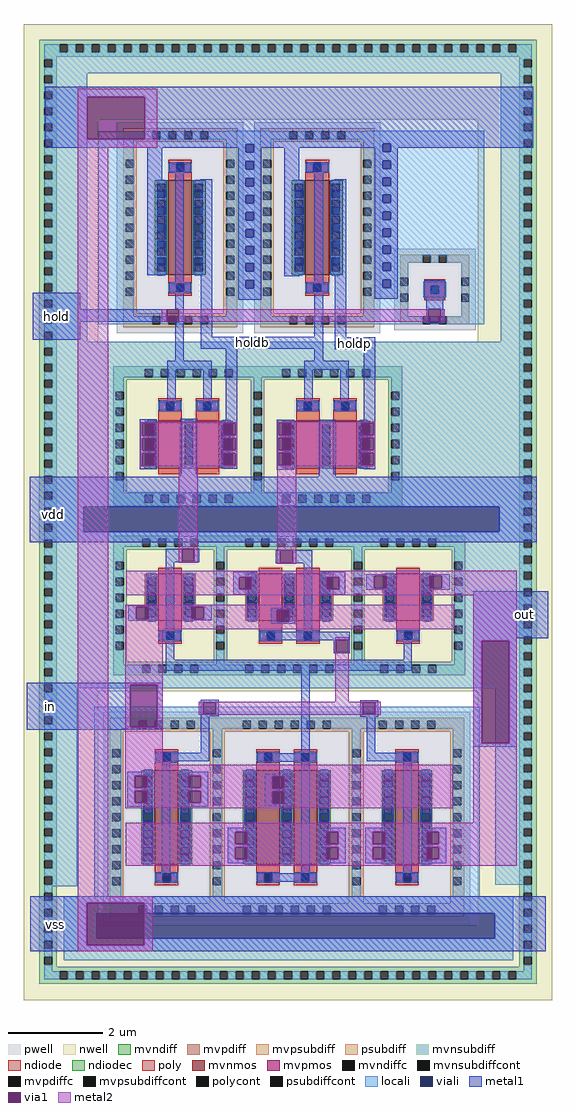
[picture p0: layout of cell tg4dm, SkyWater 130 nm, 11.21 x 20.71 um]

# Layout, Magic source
magic
tech sky130A
magscale 1 2
<< nwell >>
rect 301 1424 2543 1830
rect 301 482 616 1424
rect 2228 482 2543 1424
rect 301 373 2543 482
rect 301 -1994 616 373
rect 1957 -297 2543 373
rect 2228 -1994 2543 -297
rect 301 -2311 2543 -1994
<< mvnsubdiff >>
rect 367 1744 2477 1764
rect 367 1710 453 1744
rect 487 1710 521 1744
rect 555 1710 589 1744
rect 623 1710 657 1744
rect 691 1710 725 1744
rect 759 1710 793 1744
rect 827 1710 861 1744
rect 895 1710 929 1744
rect 963 1710 997 1744
rect 1031 1710 1065 1744
rect 1099 1710 1133 1744
rect 1167 1710 1201 1744
rect 1235 1710 1269 1744
rect 1303 1710 1337 1744
rect 1371 1710 1405 1744
rect 1439 1710 1473 1744
rect 1507 1710 1541 1744
rect 1575 1710 1609 1744
rect 1643 1710 1677 1744
rect 1711 1710 1745 1744
rect 1779 1710 1813 1744
rect 1847 1710 1881 1744
rect 1915 1710 1949 1744
rect 1983 1710 2017 1744
rect 2051 1710 2085 1744
rect 2119 1710 2153 1744
rect 2187 1710 2221 1744
rect 2255 1710 2289 1744
rect 2323 1710 2357 1744
rect 2391 1710 2477 1744
rect 367 1690 2477 1710
rect 367 1681 441 1690
rect 367 1647 387 1681
rect 421 1647 441 1681
rect 367 1613 441 1647
rect 367 1579 387 1613
rect 421 1579 441 1613
rect 367 1545 441 1579
rect 367 1511 387 1545
rect 421 1511 441 1545
rect 367 1477 441 1511
rect 367 1443 387 1477
rect 421 1443 441 1477
rect 367 1409 441 1443
rect 367 1375 387 1409
rect 421 1375 441 1409
rect 367 1341 441 1375
rect 367 1307 387 1341
rect 421 1307 441 1341
rect 367 1273 441 1307
rect 367 1239 387 1273
rect 421 1239 441 1273
rect 367 1205 441 1239
rect 367 1171 387 1205
rect 421 1171 441 1205
rect 367 1137 441 1171
rect 367 1103 387 1137
rect 421 1103 441 1137
rect 367 1069 441 1103
rect 367 1035 387 1069
rect 421 1035 441 1069
rect 367 1001 441 1035
rect 367 967 387 1001
rect 421 967 441 1001
rect 367 933 441 967
rect 367 899 387 933
rect 421 899 441 933
rect 367 865 441 899
rect 367 831 387 865
rect 421 831 441 865
rect 367 797 441 831
rect 367 763 387 797
rect 421 763 441 797
rect 367 729 441 763
rect 367 695 387 729
rect 421 695 441 729
rect 367 661 441 695
rect 367 627 387 661
rect 421 627 441 661
rect 367 593 441 627
rect 367 559 387 593
rect 421 559 441 593
rect 367 525 441 559
rect 367 491 387 525
rect 421 491 441 525
rect 367 457 441 491
rect 367 423 387 457
rect 421 423 441 457
rect 367 389 441 423
rect 367 355 387 389
rect 421 355 441 389
rect 367 321 441 355
rect 367 287 387 321
rect 421 287 441 321
rect 367 253 441 287
rect 367 219 387 253
rect 421 219 441 253
rect 367 185 441 219
rect 367 151 387 185
rect 421 151 441 185
rect 367 117 441 151
rect 367 83 387 117
rect 421 83 441 117
rect 367 49 441 83
rect 367 15 387 49
rect 421 15 441 49
rect 367 -19 441 15
rect 367 -53 387 -19
rect 421 -53 441 -19
rect 367 -87 441 -53
rect 367 -121 387 -87
rect 421 -121 441 -87
rect 367 -155 441 -121
rect 367 -189 387 -155
rect 421 -189 441 -155
rect 367 -223 441 -189
rect 367 -257 387 -223
rect 421 -257 441 -223
rect 367 -291 441 -257
rect 367 -325 387 -291
rect 421 -325 441 -291
rect 367 -359 441 -325
rect 367 -393 387 -359
rect 421 -393 441 -359
rect 367 -427 441 -393
rect 367 -461 387 -427
rect 421 -461 441 -427
rect 367 -495 441 -461
rect 367 -529 387 -495
rect 421 -529 441 -495
rect 367 -563 441 -529
rect 367 -597 387 -563
rect 421 -597 441 -563
rect 367 -631 441 -597
rect 367 -665 387 -631
rect 421 -665 441 -631
rect 367 -699 441 -665
rect 367 -733 387 -699
rect 421 -733 441 -699
rect 367 -767 441 -733
rect 367 -801 387 -767
rect 421 -801 441 -767
rect 367 -835 441 -801
rect 367 -869 387 -835
rect 421 -869 441 -835
rect 367 -903 441 -869
rect 367 -937 387 -903
rect 421 -937 441 -903
rect 367 -971 441 -937
rect 367 -1005 387 -971
rect 421 -1005 441 -971
rect 367 -1039 441 -1005
rect 367 -1073 387 -1039
rect 421 -1073 441 -1039
rect 367 -1107 441 -1073
rect 367 -1141 387 -1107
rect 421 -1141 441 -1107
rect 367 -1175 441 -1141
rect 367 -1209 387 -1175
rect 421 -1209 441 -1175
rect 367 -1243 441 -1209
rect 367 -1277 387 -1243
rect 421 -1277 441 -1243
rect 367 -1311 441 -1277
rect 367 -1345 387 -1311
rect 421 -1345 441 -1311
rect 367 -1379 441 -1345
rect 367 -1413 387 -1379
rect 421 -1413 441 -1379
rect 367 -1447 441 -1413
rect 367 -1481 387 -1447
rect 421 -1481 441 -1447
rect 367 -1515 441 -1481
rect 367 -1549 387 -1515
rect 421 -1549 441 -1515
rect 367 -1583 441 -1549
rect 367 -1617 387 -1583
rect 421 -1617 441 -1583
rect 367 -1651 441 -1617
rect 367 -1685 387 -1651
rect 421 -1685 441 -1651
rect 367 -1719 441 -1685
rect 367 -1753 387 -1719
rect 421 -1753 441 -1719
rect 367 -1787 441 -1753
rect 367 -1821 387 -1787
rect 421 -1821 441 -1787
rect 367 -1855 441 -1821
rect 367 -1889 387 -1855
rect 421 -1889 441 -1855
rect 367 -1923 441 -1889
rect 367 -1957 387 -1923
rect 421 -1957 441 -1923
rect 367 -1991 441 -1957
rect 367 -2025 387 -1991
rect 421 -2025 441 -1991
rect 367 -2059 441 -2025
rect 367 -2093 387 -2059
rect 421 -2093 441 -2059
rect 367 -2127 441 -2093
rect 367 -2161 387 -2127
rect 421 -2161 441 -2127
rect 367 -2169 441 -2161
rect 2403 1681 2477 1690
rect 2403 1647 2423 1681
rect 2457 1647 2477 1681
rect 2403 1613 2477 1647
rect 2403 1579 2423 1613
rect 2457 1579 2477 1613
rect 2403 1545 2477 1579
rect 2403 1511 2423 1545
rect 2457 1511 2477 1545
rect 2403 1477 2477 1511
rect 2403 1443 2423 1477
rect 2457 1443 2477 1477
rect 2403 1409 2477 1443
rect 2403 1375 2423 1409
rect 2457 1375 2477 1409
rect 2403 1341 2477 1375
rect 2403 1307 2423 1341
rect 2457 1307 2477 1341
rect 2403 1273 2477 1307
rect 2403 1239 2423 1273
rect 2457 1239 2477 1273
rect 2403 1205 2477 1239
rect 2403 1171 2423 1205
rect 2457 1171 2477 1205
rect 2403 1137 2477 1171
rect 2403 1103 2423 1137
rect 2457 1103 2477 1137
rect 2403 1069 2477 1103
rect 2403 1035 2423 1069
rect 2457 1035 2477 1069
rect 2403 1001 2477 1035
rect 2403 967 2423 1001
rect 2457 967 2477 1001
rect 2403 933 2477 967
rect 2403 899 2423 933
rect 2457 899 2477 933
rect 2403 865 2477 899
rect 2403 831 2423 865
rect 2457 831 2477 865
rect 2403 797 2477 831
rect 2403 763 2423 797
rect 2457 763 2477 797
rect 2403 729 2477 763
rect 2403 695 2423 729
rect 2457 695 2477 729
rect 2403 661 2477 695
rect 2403 627 2423 661
rect 2457 627 2477 661
rect 2403 593 2477 627
rect 2403 559 2423 593
rect 2457 559 2477 593
rect 2403 525 2477 559
rect 2403 491 2423 525
rect 2457 491 2477 525
rect 2403 457 2477 491
rect 2403 423 2423 457
rect 2457 423 2477 457
rect 2403 389 2477 423
rect 2403 355 2423 389
rect 2457 355 2477 389
rect 2403 321 2477 355
rect 2403 287 2423 321
rect 2457 287 2477 321
rect 2403 253 2477 287
rect 2403 219 2423 253
rect 2457 219 2477 253
rect 2403 185 2477 219
rect 2403 151 2423 185
rect 2457 151 2477 185
rect 2403 117 2477 151
rect 2403 83 2423 117
rect 2457 83 2477 117
rect 2403 49 2477 83
rect 2403 15 2423 49
rect 2457 15 2477 49
rect 2403 -19 2477 15
rect 2403 -53 2423 -19
rect 2457 -53 2477 -19
rect 2403 -87 2477 -53
rect 2403 -121 2423 -87
rect 2457 -121 2477 -87
rect 2403 -155 2477 -121
rect 2403 -189 2423 -155
rect 2457 -189 2477 -155
rect 2403 -223 2477 -189
rect 2403 -257 2423 -223
rect 2457 -257 2477 -223
rect 2403 -291 2477 -257
rect 2403 -325 2423 -291
rect 2457 -325 2477 -291
rect 2403 -359 2477 -325
rect 2403 -393 2423 -359
rect 2457 -393 2477 -359
rect 2403 -427 2477 -393
rect 2403 -461 2423 -427
rect 2457 -461 2477 -427
rect 2403 -495 2477 -461
rect 2403 -529 2423 -495
rect 2457 -529 2477 -495
rect 2403 -563 2477 -529
rect 2403 -597 2423 -563
rect 2457 -597 2477 -563
rect 2403 -631 2477 -597
rect 2403 -665 2423 -631
rect 2457 -665 2477 -631
rect 2403 -699 2477 -665
rect 2403 -733 2423 -699
rect 2457 -733 2477 -699
rect 2403 -767 2477 -733
rect 2403 -801 2423 -767
rect 2457 -801 2477 -767
rect 2403 -835 2477 -801
rect 2403 -869 2423 -835
rect 2457 -869 2477 -835
rect 2403 -903 2477 -869
rect 2403 -937 2423 -903
rect 2457 -937 2477 -903
rect 2403 -971 2477 -937
rect 2403 -1005 2423 -971
rect 2457 -1005 2477 -971
rect 2403 -1039 2477 -1005
rect 2403 -1073 2423 -1039
rect 2457 -1073 2477 -1039
rect 2403 -1107 2477 -1073
rect 2403 -1141 2423 -1107
rect 2457 -1141 2477 -1107
rect 2403 -1175 2477 -1141
rect 2403 -1209 2423 -1175
rect 2457 -1209 2477 -1175
rect 2403 -1243 2477 -1209
rect 2403 -1277 2423 -1243
rect 2457 -1277 2477 -1243
rect 2403 -1311 2477 -1277
rect 2403 -1345 2423 -1311
rect 2457 -1345 2477 -1311
rect 2403 -1379 2477 -1345
rect 2403 -1413 2423 -1379
rect 2457 -1413 2477 -1379
rect 2403 -1447 2477 -1413
rect 2403 -1481 2423 -1447
rect 2457 -1481 2477 -1447
rect 2403 -1515 2477 -1481
rect 2403 -1549 2423 -1515
rect 2457 -1549 2477 -1515
rect 2403 -1583 2477 -1549
rect 2403 -1617 2423 -1583
rect 2457 -1617 2477 -1583
rect 2403 -1651 2477 -1617
rect 2403 -1685 2423 -1651
rect 2457 -1685 2477 -1651
rect 2403 -1719 2477 -1685
rect 2403 -1753 2423 -1719
rect 2457 -1753 2477 -1719
rect 2403 -1787 2477 -1753
rect 2403 -1821 2423 -1787
rect 2457 -1821 2477 -1787
rect 2403 -1855 2477 -1821
rect 2403 -1889 2423 -1855
rect 2457 -1889 2477 -1855
rect 2403 -1923 2477 -1889
rect 2403 -1957 2423 -1923
rect 2457 -1957 2477 -1923
rect 2403 -1991 2477 -1957
rect 2403 -2025 2423 -1991
rect 2457 -2025 2477 -1991
rect 2403 -2059 2477 -2025
rect 2403 -2093 2423 -2059
rect 2457 -2093 2477 -2059
rect 2403 -2127 2477 -2093
rect 2403 -2161 2423 -2127
rect 2457 -2161 2477 -2127
rect 2403 -2169 2477 -2161
rect 367 -2189 2477 -2169
rect 367 -2223 453 -2189
rect 487 -2223 521 -2189
rect 555 -2223 589 -2189
rect 623 -2223 657 -2189
rect 691 -2223 725 -2189
rect 759 -2223 793 -2189
rect 827 -2223 861 -2189
rect 895 -2223 929 -2189
rect 963 -2223 997 -2189
rect 1031 -2223 1065 -2189
rect 1099 -2223 1133 -2189
rect 1167 -2223 1201 -2189
rect 1235 -2223 1269 -2189
rect 1303 -2223 1337 -2189
rect 1371 -2223 1405 -2189
rect 1439 -2223 1473 -2189
rect 1507 -2223 1541 -2189
rect 1575 -2223 1609 -2189
rect 1643 -2223 1677 -2189
rect 1711 -2223 1745 -2189
rect 1779 -2223 1813 -2189
rect 1847 -2223 1881 -2189
rect 1915 -2223 1949 -2189
rect 1983 -2223 2017 -2189
rect 2051 -2223 2085 -2189
rect 2119 -2223 2153 -2189
rect 2187 -2223 2221 -2189
rect 2255 -2223 2289 -2189
rect 2323 -2223 2357 -2189
rect 2391 -2223 2477 -2189
rect 367 -2243 2477 -2223
<< mvnsubdiffcont >>
rect 453 1710 487 1744
rect 521 1710 555 1744
rect 589 1710 623 1744
rect 657 1710 691 1744
rect 725 1710 759 1744
rect 793 1710 827 1744
rect 861 1710 895 1744
rect 929 1710 963 1744
rect 997 1710 1031 1744
rect 1065 1710 1099 1744
rect 1133 1710 1167 1744
rect 1201 1710 1235 1744
rect 1269 1710 1303 1744
rect 1337 1710 1371 1744
rect 1405 1710 1439 1744
rect 1473 1710 1507 1744
rect 1541 1710 1575 1744
rect 1609 1710 1643 1744
rect 1677 1710 1711 1744
rect 1745 1710 1779 1744
rect 1813 1710 1847 1744
rect 1881 1710 1915 1744
rect 1949 1710 1983 1744
rect 2017 1710 2051 1744
rect 2085 1710 2119 1744
rect 2153 1710 2187 1744
rect 2221 1710 2255 1744
rect 2289 1710 2323 1744
rect 2357 1710 2391 1744
rect 387 1647 421 1681
rect 387 1579 421 1613
rect 387 1511 421 1545
rect 387 1443 421 1477
rect 387 1375 421 1409
rect 387 1307 421 1341
rect 387 1239 421 1273
rect 387 1171 421 1205
rect 387 1103 421 1137
rect 387 1035 421 1069
rect 387 967 421 1001
rect 387 899 421 933
rect 387 831 421 865
rect 387 763 421 797
rect 387 695 421 729
rect 387 627 421 661
rect 387 559 421 593
rect 387 491 421 525
rect 387 423 421 457
rect 387 355 421 389
rect 387 287 421 321
rect 387 219 421 253
rect 387 151 421 185
rect 387 83 421 117
rect 387 15 421 49
rect 387 -53 421 -19
rect 387 -121 421 -87
rect 387 -189 421 -155
rect 387 -257 421 -223
rect 387 -325 421 -291
rect 387 -393 421 -359
rect 387 -461 421 -427
rect 387 -529 421 -495
rect 387 -597 421 -563
rect 387 -665 421 -631
rect 387 -733 421 -699
rect 387 -801 421 -767
rect 387 -869 421 -835
rect 387 -937 421 -903
rect 387 -1005 421 -971
rect 387 -1073 421 -1039
rect 387 -1141 421 -1107
rect 387 -1209 421 -1175
rect 387 -1277 421 -1243
rect 387 -1345 421 -1311
rect 387 -1413 421 -1379
rect 387 -1481 421 -1447
rect 387 -1549 421 -1515
rect 387 -1617 421 -1583
rect 387 -1685 421 -1651
rect 387 -1753 421 -1719
rect 387 -1821 421 -1787
rect 387 -1889 421 -1855
rect 387 -1957 421 -1923
rect 387 -2025 421 -1991
rect 387 -2093 421 -2059
rect 387 -2161 421 -2127
rect 2423 1647 2457 1681
rect 2423 1579 2457 1613
rect 2423 1511 2457 1545
rect 2423 1443 2457 1477
rect 2423 1375 2457 1409
rect 2423 1307 2457 1341
rect 2423 1239 2457 1273
rect 2423 1171 2457 1205
rect 2423 1103 2457 1137
rect 2423 1035 2457 1069
rect 2423 967 2457 1001
rect 2423 899 2457 933
rect 2423 831 2457 865
rect 2423 763 2457 797
rect 2423 695 2457 729
rect 2423 627 2457 661
rect 2423 559 2457 593
rect 2423 491 2457 525
rect 2423 423 2457 457
rect 2423 355 2457 389
rect 2423 287 2457 321
rect 2423 219 2457 253
rect 2423 151 2457 185
rect 2423 83 2457 117
rect 2423 15 2457 49
rect 2423 -53 2457 -19
rect 2423 -121 2457 -87
rect 2423 -189 2457 -155
rect 2423 -257 2457 -223
rect 2423 -325 2457 -291
rect 2423 -393 2457 -359
rect 2423 -461 2457 -427
rect 2423 -529 2457 -495
rect 2423 -597 2457 -563
rect 2423 -665 2457 -631
rect 2423 -733 2457 -699
rect 2423 -801 2457 -767
rect 2423 -869 2457 -835
rect 2423 -937 2457 -903
rect 2423 -1005 2457 -971
rect 2423 -1073 2457 -1039
rect 2423 -1141 2457 -1107
rect 2423 -1209 2457 -1175
rect 2423 -1277 2457 -1243
rect 2423 -1345 2457 -1311
rect 2423 -1413 2457 -1379
rect 2423 -1481 2457 -1447
rect 2423 -1549 2457 -1515
rect 2423 -1617 2457 -1583
rect 2423 -1685 2457 -1651
rect 2423 -1753 2457 -1719
rect 2423 -1821 2457 -1787
rect 2423 -1889 2457 -1855
rect 2423 -1957 2457 -1923
rect 2423 -2025 2457 -1991
rect 2423 -2093 2457 -2059
rect 2423 -2161 2457 -2127
rect 453 -2223 487 -2189
rect 521 -2223 555 -2189
rect 589 -2223 623 -2189
rect 657 -2223 691 -2189
rect 725 -2223 759 -2189
rect 793 -2223 827 -2189
rect 861 -2223 895 -2189
rect 929 -2223 963 -2189
rect 997 -2223 1031 -2189
rect 1065 -2223 1099 -2189
rect 1133 -2223 1167 -2189
rect 1201 -2223 1235 -2189
rect 1269 -2223 1303 -2189
rect 1337 -2223 1371 -2189
rect 1405 -2223 1439 -2189
rect 1473 -2223 1507 -2189
rect 1541 -2223 1575 -2189
rect 1609 -2223 1643 -2189
rect 1677 -2223 1711 -2189
rect 1745 -2223 1779 -2189
rect 1813 -2223 1847 -2189
rect 1881 -2223 1915 -2189
rect 1949 -2223 1983 -2189
rect 2017 -2223 2051 -2189
rect 2085 -2223 2119 -2189
rect 2153 -2223 2187 -2189
rect 2221 -2223 2255 -2189
rect 2289 -2223 2323 -2189
rect 2357 -2223 2391 -2189
<< locali >>
rect 387 1710 453 1744
rect 487 1710 521 1744
rect 555 1710 589 1744
rect 623 1710 657 1744
rect 691 1710 725 1744
rect 759 1710 793 1744
rect 827 1710 861 1744
rect 895 1710 929 1744
rect 963 1710 997 1744
rect 1031 1710 1065 1744
rect 1099 1710 1133 1744
rect 1167 1710 1201 1744
rect 1235 1710 1269 1744
rect 1303 1710 1337 1744
rect 1371 1710 1405 1744
rect 1439 1710 1473 1744
rect 1507 1710 1541 1744
rect 1575 1710 1609 1744
rect 1643 1710 1677 1744
rect 1711 1710 1745 1744
rect 1779 1710 1813 1744
rect 1847 1710 1881 1744
rect 1915 1710 1949 1744
rect 1983 1710 2017 1744
rect 2051 1710 2085 1744
rect 2119 1710 2153 1744
rect 2187 1710 2221 1744
rect 2255 1710 2289 1744
rect 2323 1710 2357 1744
rect 2391 1710 2457 1744
rect 387 1681 2457 1710
rect 421 1647 2423 1681
rect 387 1621 2457 1647
rect 387 1613 571 1621
rect 421 1579 571 1613
rect 387 1545 571 1579
rect 421 1511 571 1545
rect 387 1477 571 1511
rect 421 1443 571 1477
rect 387 1409 571 1443
rect 421 1375 571 1409
rect 2325 1613 2457 1621
rect 2325 1579 2423 1613
rect 2325 1545 2457 1579
rect 2325 1511 2423 1545
rect 2325 1477 2457 1511
rect 2325 1443 2423 1477
rect 2325 1409 2457 1443
rect 387 1341 571 1375
rect 421 1307 571 1341
rect 387 1273 571 1307
rect 421 1239 571 1273
rect 387 1205 571 1239
rect 421 1171 571 1205
rect 387 1137 571 1171
rect 421 1103 571 1137
rect 387 1069 571 1103
rect 421 1035 571 1069
rect 387 1001 571 1035
rect 421 967 571 1001
rect 387 933 571 967
rect 421 899 571 933
rect 387 865 571 899
rect 421 831 571 865
rect 387 797 571 831
rect 421 763 571 797
rect 387 729 571 763
rect 421 695 571 729
rect 387 661 571 695
rect 421 627 571 661
rect 387 593 571 627
rect 421 559 571 593
rect 387 525 571 559
rect 616 556 768 1376
rect 1169 1319 1343 1377
rect 1169 1285 1242 1319
rect 1276 1285 1343 1319
rect 1169 1247 1343 1285
rect 1169 1213 1242 1247
rect 1276 1213 1343 1247
rect 1169 1175 1343 1213
rect 1169 1141 1242 1175
rect 1276 1141 1343 1175
rect 1169 1103 1343 1141
rect 1169 1069 1242 1103
rect 1276 1069 1343 1103
rect 1169 1031 1343 1069
rect 1169 997 1242 1031
rect 1276 997 1343 1031
rect 1169 959 1343 997
rect 1169 925 1242 959
rect 1276 925 1343 959
rect 1169 887 1343 925
rect 1169 853 1242 887
rect 1276 853 1343 887
rect 1169 815 1343 853
rect 1169 781 1242 815
rect 1276 781 1343 815
rect 1169 743 1343 781
rect 1169 709 1242 743
rect 1276 709 1343 743
rect 1169 556 1343 709
rect 1753 1321 2255 1377
rect 1753 1287 1823 1321
rect 1857 1287 2255 1321
rect 1753 1249 2255 1287
rect 1753 1215 1823 1249
rect 1857 1215 2255 1249
rect 1753 1177 2255 1215
rect 1753 1143 1823 1177
rect 1857 1143 2255 1177
rect 1753 1105 2255 1143
rect 1753 1071 1823 1105
rect 1857 1071 2255 1105
rect 1753 1033 2255 1071
rect 1753 999 1823 1033
rect 1857 999 2255 1033
rect 1753 961 2255 999
rect 1753 927 1823 961
rect 1857 927 2255 961
rect 1753 889 2255 927
rect 1753 855 1823 889
rect 1857 855 2255 889
rect 1753 847 2255 855
rect 1753 817 1927 847
rect 1753 783 1823 817
rect 1857 783 1927 817
rect 1753 745 1927 783
rect 1753 711 1823 745
rect 1857 711 1927 745
rect 1753 556 1927 711
rect 2164 556 2255 847
rect 2325 1375 2423 1409
rect 2325 1341 2457 1375
rect 2325 1307 2423 1341
rect 2325 1273 2457 1307
rect 2325 1239 2423 1273
rect 2325 1205 2457 1239
rect 2325 1171 2423 1205
rect 2325 1137 2457 1171
rect 2325 1103 2423 1137
rect 2325 1069 2457 1103
rect 2325 1035 2423 1069
rect 2325 1001 2457 1035
rect 2325 967 2423 1001
rect 2325 933 2457 967
rect 2325 899 2423 933
rect 2325 865 2457 899
rect 2325 831 2423 865
rect 2325 797 2457 831
rect 2325 763 2423 797
rect 2325 729 2457 763
rect 2325 695 2423 729
rect 2325 661 2457 695
rect 2325 627 2423 661
rect 2325 593 2457 627
rect 2325 559 2423 593
rect 421 491 571 525
rect 387 482 571 491
rect 2325 525 2457 559
rect 2325 491 2423 525
rect 2325 482 2457 491
rect 387 457 2457 482
rect 421 423 2423 457
rect 387 389 2457 423
rect 421 355 2423 389
rect 387 342 2457 355
rect 387 321 712 342
rect 421 287 712 321
rect 387 253 712 287
rect 421 219 712 253
rect 387 185 712 219
rect 421 151 712 185
rect 387 117 712 151
rect 421 83 712 117
rect 387 49 712 83
rect 421 15 712 49
rect 387 -19 712 15
rect 421 -53 712 -19
rect 387 -87 712 -53
rect 421 -121 712 -87
rect 387 -155 712 -121
rect 421 -158 712 -155
rect 1870 321 2457 342
rect 1870 287 2423 321
rect 1870 253 2457 287
rect 1870 219 2423 253
rect 1870 185 2457 219
rect 1870 151 2423 185
rect 1870 117 2457 151
rect 1870 83 2423 117
rect 1870 49 2457 83
rect 1870 15 2423 49
rect 1870 -19 2457 15
rect 1870 -53 2423 -19
rect 1870 -87 2457 -53
rect 1870 -121 2423 -87
rect 1870 -155 2457 -121
rect 1870 -158 2423 -155
rect 421 -189 2423 -158
rect 387 -219 2457 -189
rect 387 -223 556 -219
rect 421 -257 556 -223
rect 387 -291 556 -257
rect 421 -325 556 -291
rect 2318 -223 2457 -219
rect 2318 -257 2423 -223
rect 2318 -291 2457 -257
rect 2318 -325 2423 -291
rect 387 -359 2457 -325
rect 421 -374 2423 -359
rect 421 -393 712 -374
rect 387 -427 712 -393
rect 421 -461 712 -427
rect 387 -495 712 -461
rect 421 -529 712 -495
rect 387 -563 712 -529
rect 421 -597 712 -563
rect 387 -631 712 -597
rect 421 -665 712 -631
rect 387 -699 712 -665
rect 421 -733 712 -699
rect 387 -767 712 -733
rect 421 -801 712 -767
rect 387 -835 712 -801
rect 421 -869 712 -835
rect 387 -894 712 -869
rect 2140 -393 2423 -374
rect 2140 -427 2457 -393
rect 2140 -461 2423 -427
rect 2140 -495 2457 -461
rect 2140 -529 2423 -495
rect 2140 -563 2457 -529
rect 2140 -597 2423 -563
rect 2140 -631 2457 -597
rect 2140 -665 2423 -631
rect 2140 -699 2457 -665
rect 2140 -733 2423 -699
rect 2140 -767 2457 -733
rect 2140 -801 2423 -767
rect 2140 -835 2457 -801
rect 2140 -869 2423 -835
rect 2140 -894 2457 -869
rect 387 -903 2457 -894
rect 421 -937 2423 -903
rect 387 -971 2457 -937
rect 421 -988 2423 -971
rect 421 -1005 528 -988
rect 387 -1039 528 -1005
rect 421 -1073 528 -1039
rect 2302 -1005 2423 -988
rect 2302 -1039 2457 -1005
rect 387 -1107 528 -1073
rect 421 -1141 528 -1107
rect 387 -1175 528 -1141
rect 421 -1209 528 -1175
rect 387 -1243 528 -1209
rect 421 -1277 528 -1243
rect 387 -1311 528 -1277
rect 421 -1345 528 -1311
rect 387 -1379 528 -1345
rect 421 -1413 528 -1379
rect 387 -1447 528 -1413
rect 421 -1481 528 -1447
rect 387 -1515 528 -1481
rect 421 -1549 528 -1515
rect 387 -1583 528 -1549
rect 421 -1617 528 -1583
rect 387 -1651 528 -1617
rect 421 -1685 528 -1651
rect 387 -1719 528 -1685
rect 421 -1753 528 -1719
rect 387 -1787 528 -1753
rect 421 -1821 528 -1787
rect 387 -1828 528 -1821
rect 599 -1155 2235 -1066
rect 387 -1855 421 -1828
rect 599 -1870 714 -1155
rect 2120 -1870 2235 -1155
rect 2302 -1073 2423 -1039
rect 2302 -1107 2457 -1073
rect 2302 -1141 2423 -1107
rect 2302 -1175 2457 -1141
rect 2302 -1209 2423 -1175
rect 2302 -1243 2457 -1209
rect 2302 -1277 2423 -1243
rect 2302 -1311 2457 -1277
rect 2302 -1345 2423 -1311
rect 2302 -1379 2457 -1345
rect 2302 -1413 2423 -1379
rect 2302 -1447 2457 -1413
rect 2302 -1481 2423 -1447
rect 2302 -1515 2457 -1481
rect 2302 -1549 2423 -1515
rect 2302 -1583 2457 -1549
rect 2302 -1617 2423 -1583
rect 2302 -1651 2457 -1617
rect 2302 -1685 2423 -1651
rect 2302 -1719 2457 -1685
rect 2302 -1753 2423 -1719
rect 2302 -1787 2457 -1753
rect 2302 -1821 2423 -1787
rect 2423 -1855 2457 -1821
rect 387 -1923 421 -1889
rect 387 -1991 421 -1957
rect 387 -2059 421 -2025
rect 387 -2127 421 -2093
rect 471 -1943 2378 -1870
rect 471 -2049 609 -1943
rect 2299 -2049 2378 -1943
rect 471 -2143 2378 -2049
rect 2423 -1923 2457 -1889
rect 2423 -1991 2457 -1957
rect 2423 -2059 2457 -2025
rect 2423 -2127 2457 -2093
rect 387 -2189 421 -2161
rect 2423 -2189 2457 -2161
rect 387 -2223 453 -2189
rect 487 -2223 521 -2189
rect 555 -2223 589 -2189
rect 623 -2223 657 -2189
rect 691 -2223 725 -2189
rect 759 -2223 793 -2189
rect 827 -2223 861 -2189
rect 895 -2223 929 -2189
rect 963 -2223 997 -2189
rect 1031 -2223 1065 -2189
rect 1099 -2223 1133 -2189
rect 1167 -2223 1201 -2189
rect 1235 -2223 1269 -2189
rect 1303 -2223 1337 -2189
rect 1371 -2223 1405 -2189
rect 1439 -2223 1473 -2189
rect 1507 -2223 1541 -2189
rect 1575 -2223 1609 -2189
rect 1643 -2223 1677 -2189
rect 1711 -2223 1745 -2189
rect 1779 -2223 1813 -2189
rect 1847 -2223 1881 -2189
rect 1915 -2223 1949 -2189
rect 1983 -2223 2017 -2189
rect 2051 -2223 2085 -2189
rect 2119 -2223 2153 -2189
rect 2187 -2223 2221 -2189
rect 2255 -2223 2289 -2189
rect 2323 -2223 2357 -2189
rect 2391 -2223 2457 -2189
<< viali >>
rect 1242 1285 1276 1319
rect 1242 1213 1276 1247
rect 1242 1141 1276 1175
rect 1242 1069 1276 1103
rect 1242 997 1276 1031
rect 1242 925 1276 959
rect 1242 853 1276 887
rect 1242 781 1276 815
rect 1242 709 1276 743
rect 1823 1287 1857 1321
rect 1823 1215 1857 1249
rect 1823 1143 1857 1177
rect 1823 1071 1857 1105
rect 1823 999 1857 1033
rect 1823 927 1857 961
rect 1823 855 1857 889
rect 1823 783 1857 817
rect 1823 711 1857 745
rect 556 -325 2318 -219
rect 609 -2049 2299 -1943
<< metal1 >>
rect 393 1521 2463 1563
rect 393 1341 571 1521
rect 815 1341 2463 1521
rect 393 1321 2463 1341
rect 393 1319 1823 1321
rect 393 1306 1242 1319
rect 824 764 888 1306
rect 1211 1285 1242 1306
rect 1276 1306 1823 1319
rect 1276 1285 1308 1306
rect 1211 1247 1308 1285
rect 340 619 540 690
rect 943 619 980 1231
rect 1211 1213 1242 1247
rect 1276 1213 1308 1247
rect 1211 1175 1308 1213
rect 340 567 907 619
rect 959 567 980 619
rect 340 490 540 567
rect 943 401 980 567
rect 1052 502 1101 1172
rect 1211 1141 1242 1175
rect 1276 1141 1308 1175
rect 1211 1103 1308 1141
rect 1211 1069 1242 1103
rect 1276 1069 1308 1103
rect 1211 1031 1308 1069
rect 1211 997 1242 1031
rect 1276 997 1308 1031
rect 1211 959 1308 997
rect 1211 925 1242 959
rect 1276 925 1308 959
rect 1211 887 1308 925
rect 1211 853 1242 887
rect 1276 853 1308 887
rect 1211 815 1308 853
rect 1211 781 1242 815
rect 1276 781 1308 815
rect 1211 743 1308 781
rect 1406 760 1470 1306
rect 1791 1287 1823 1306
rect 1857 1306 2463 1321
rect 1857 1287 1888 1306
rect 1791 1249 1888 1287
rect 1211 709 1242 743
rect 1276 709 1308 743
rect 1211 659 1308 709
rect 1534 502 1571 1232
rect 1791 1215 1823 1249
rect 1857 1215 1888 1249
rect 1791 1177 1888 1215
rect 1052 453 1571 502
rect 909 364 1099 401
rect 909 200 946 364
rect 1062 200 1099 364
rect 793 136 866 153
rect 793 84 804 136
rect 856 84 866 136
rect 793 72 866 84
rect 793 20 804 72
rect 856 20 866 72
rect 793 8 866 20
rect 793 -44 804 8
rect 856 -44 866 8
rect 793 -59 866 -44
rect 964 -92 1036 156
rect 1158 139 1207 453
rect 1534 401 1571 453
rect 1620 500 1669 1171
rect 1791 1143 1823 1177
rect 1857 1143 1888 1177
rect 1791 1105 1888 1143
rect 1791 1071 1823 1105
rect 1857 1071 1888 1105
rect 1791 1033 1888 1071
rect 1791 999 1823 1033
rect 1857 999 1888 1033
rect 1791 961 1888 999
rect 1791 927 1823 961
rect 1857 927 1888 961
rect 1791 889 1888 927
rect 1791 855 1823 889
rect 1857 855 1888 889
rect 1791 817 1888 855
rect 1791 783 1823 817
rect 1857 783 1888 817
rect 1791 745 1888 783
rect 1791 711 1823 745
rect 1857 711 1888 745
rect 1791 664 1888 711
rect 2009 619 2080 739
rect 2009 567 2018 619
rect 2070 567 2080 619
rect 2009 561 2080 567
rect 1620 451 1792 500
rect 1490 364 1680 401
rect 1490 200 1527 364
rect 1643 200 1680 364
rect 1147 137 1207 139
rect 1147 85 1148 137
rect 1200 85 1207 137
rect 1147 73 1207 85
rect 1147 21 1148 73
rect 1200 21 1207 73
rect 1147 9 1207 21
rect 1147 -43 1148 9
rect 1200 -43 1207 9
rect 1147 -45 1207 -43
rect 1158 -57 1207 -45
rect 1375 138 1448 151
rect 1375 86 1383 138
rect 1435 86 1448 138
rect 1375 74 1448 86
rect 1375 22 1383 74
rect 1435 22 1448 74
rect 1375 10 1448 22
rect 1375 -42 1383 10
rect 1435 -42 1448 10
rect 1375 -61 1448 -42
rect 1552 -92 1624 151
rect 1743 140 1792 451
rect 1732 138 1792 140
rect 1732 86 1733 138
rect 1785 86 1792 138
rect 1732 74 1792 86
rect 1732 22 1733 74
rect 1785 22 1792 74
rect 1732 10 1792 22
rect 1732 -42 1733 10
rect 1785 -42 1792 10
rect 1732 -44 1792 -42
rect 1743 -59 1792 -44
rect 326 -219 2478 -92
rect 326 -325 556 -219
rect 2318 -325 2478 -219
rect 326 -368 2478 -325
rect 904 -449 973 -397
rect 1025 -449 1046 -397
rect 904 -453 1046 -449
rect 1370 -403 1525 -402
rect 745 -643 867 -636
rect 745 -695 779 -643
rect 831 -695 867 -643
rect 745 -701 867 -695
rect 904 -867 939 -453
rect 1370 -455 1390 -403
rect 1442 -455 1525 -403
rect 1370 -458 1525 -455
rect 1190 -517 1292 -495
rect 1190 -569 1215 -517
rect 1267 -569 1292 -517
rect 1190 -591 1292 -569
rect 977 -642 1099 -635
rect 977 -694 1012 -642
rect 1064 -694 1099 -642
rect 977 -700 1099 -694
rect 1350 -655 1452 -648
rect 1350 -707 1375 -655
rect 1427 -707 1452 -655
rect 1350 -714 1452 -707
rect 1489 -749 1525 -458
rect 1562 -517 1664 -495
rect 1562 -569 1587 -517
rect 1639 -569 1664 -517
rect 1562 -591 1664 -569
rect 1755 -512 1876 -505
rect 1755 -564 1789 -512
rect 1841 -564 1876 -512
rect 1755 -570 1876 -564
rect 1988 -512 2109 -505
rect 1988 -564 2022 -512
rect 2074 -564 2109 -512
rect 1988 -570 2109 -564
rect 1334 -783 1685 -749
rect 1334 -785 1625 -783
rect 1617 -835 1625 -785
rect 1677 -835 1685 -783
rect 1617 -839 1685 -835
rect 1913 -867 1948 -760
rect 904 -915 1948 -867
rect 2209 -776 2526 -576
rect 2209 -786 2393 -776
rect 314 -974 891 -964
rect 314 -1154 752 -974
rect 868 -1154 891 -974
rect 314 -1164 891 -1154
rect 1051 -1047 1128 -1037
rect 1051 -1099 1063 -1047
rect 1115 -1099 1128 -1047
rect 1051 -1107 1128 -1099
rect 1051 -1261 1087 -1107
rect 894 -1289 1087 -1261
rect 1479 -1264 1515 -915
rect 1728 -1047 1805 -1039
rect 1728 -1099 1740 -1047
rect 1792 -1099 1805 -1047
rect 1728 -1109 1805 -1099
rect 887 -1297 1087 -1289
rect 740 -1359 856 -1342
rect 740 -1411 772 -1359
rect 824 -1411 856 -1359
rect 740 -1423 856 -1411
rect 740 -1475 772 -1423
rect 824 -1475 856 -1423
rect 740 -1491 856 -1475
rect 887 -1784 923 -1297
rect 1322 -1300 1515 -1264
rect 1756 -1262 1792 -1109
rect 2209 -1222 2244 -786
rect 2360 -1222 2393 -786
rect 2209 -1236 2393 -1222
rect 1756 -1298 1949 -1262
rect 967 -1359 1083 -1342
rect 967 -1411 999 -1359
rect 1051 -1411 1083 -1359
rect 967 -1423 1083 -1411
rect 967 -1475 999 -1423
rect 1051 -1475 1083 -1423
rect 967 -1491 1083 -1475
rect 1323 -1362 1440 -1352
rect 1323 -1414 1355 -1362
rect 1407 -1414 1440 -1362
rect 1323 -1426 1440 -1414
rect 1323 -1478 1355 -1426
rect 1407 -1478 1440 -1426
rect 1323 -1488 1440 -1478
rect 1166 -1598 1282 -1581
rect 1166 -1650 1198 -1598
rect 1250 -1650 1282 -1598
rect 1166 -1662 1282 -1650
rect 1166 -1714 1198 -1662
rect 1250 -1714 1282 -1662
rect 1166 -1730 1282 -1714
rect 1479 -1773 1515 -1300
rect 1552 -1598 1668 -1581
rect 1552 -1650 1584 -1598
rect 1636 -1650 1668 -1598
rect 1552 -1662 1668 -1650
rect 1552 -1714 1584 -1662
rect 1636 -1714 1668 -1662
rect 1552 -1730 1668 -1714
rect 1750 -1598 1866 -1581
rect 1750 -1650 1782 -1598
rect 1834 -1650 1866 -1598
rect 1750 -1662 1866 -1650
rect 1750 -1714 1782 -1662
rect 1834 -1714 1866 -1662
rect 1750 -1730 1866 -1714
rect 1347 -1809 1515 -1773
rect 1910 -1786 1946 -1298
rect 1978 -1598 2094 -1581
rect 1978 -1650 2010 -1598
rect 2062 -1650 2094 -1598
rect 1978 -1662 2094 -1650
rect 1978 -1714 2010 -1662
rect 2062 -1714 2094 -1662
rect 1978 -1730 2094 -1714
rect 328 -1899 2515 -1870
rect 328 -2079 569 -1899
rect 813 -1943 2515 -1899
rect 2299 -2049 2515 -1943
rect 813 -2079 2515 -2049
rect 328 -2105 2515 -2079
<< via1 >>
rect 571 1341 815 1521
rect 907 567 959 619
rect 804 84 856 136
rect 804 20 856 72
rect 804 -44 856 8
rect 2018 567 2070 619
rect 1148 85 1200 137
rect 1148 21 1200 73
rect 1148 -43 1200 9
rect 1383 86 1435 138
rect 1383 22 1435 74
rect 1383 -42 1435 10
rect 1733 86 1785 138
rect 1733 22 1785 74
rect 1733 -42 1785 10
rect 973 -449 1025 -397
rect 779 -695 831 -643
rect 1390 -455 1442 -403
rect 1215 -569 1267 -517
rect 1012 -694 1064 -642
rect 1375 -707 1427 -655
rect 1587 -569 1639 -517
rect 1789 -564 1841 -512
rect 2022 -564 2074 -512
rect 1625 -835 1677 -783
rect 752 -1154 868 -974
rect 1063 -1099 1115 -1047
rect 1740 -1099 1792 -1047
rect 772 -1411 824 -1359
rect 772 -1475 824 -1423
rect 2244 -1222 2360 -786
rect 999 -1411 1051 -1359
rect 999 -1475 1051 -1423
rect 1355 -1414 1407 -1362
rect 1355 -1478 1407 -1426
rect 1198 -1650 1250 -1598
rect 1198 -1714 1250 -1662
rect 1584 -1650 1636 -1598
rect 1584 -1714 1636 -1662
rect 1782 -1650 1834 -1598
rect 1782 -1714 1834 -1662
rect 2010 -1650 2062 -1598
rect 2010 -1714 2062 -1662
rect 569 -1943 813 -1899
rect 569 -2049 609 -1943
rect 609 -2049 813 -1943
rect 569 -2079 813 -2049
<< metal2 >>
rect 529 1521 867 1556
rect 529 1341 571 1521
rect 815 1341 867 1521
rect 529 1306 867 1341
rect 529 -1870 660 1306
rect 886 567 907 619
rect 959 567 2018 619
rect 2070 567 2087 619
rect 795 137 1207 141
rect 795 136 1148 137
rect 795 84 804 136
rect 856 85 1148 136
rect 1200 85 1207 137
rect 856 84 1207 85
rect 795 73 1207 84
rect 795 72 1148 73
rect 795 20 804 72
rect 856 21 1148 72
rect 1200 21 1207 73
rect 856 20 1207 21
rect 795 9 1207 20
rect 795 8 1148 9
rect 795 -44 804 8
rect 856 -43 1148 8
rect 1200 -43 1207 9
rect 856 -44 1207 -43
rect 795 -47 1207 -44
rect 1376 138 1792 142
rect 1376 86 1383 138
rect 1435 86 1733 138
rect 1785 86 1792 138
rect 1376 74 1792 86
rect 1376 22 1383 74
rect 1435 22 1733 74
rect 1785 22 1792 74
rect 1376 10 1792 22
rect 1376 -42 1383 10
rect 1435 -42 1733 10
rect 1785 -42 1792 10
rect 1376 -46 1792 -42
rect 959 -397 1040 -47
rect 959 -449 973 -397
rect 1025 -449 1040 -397
rect 959 -455 1040 -449
rect 1376 -403 1457 -46
rect 1376 -455 1390 -403
rect 1442 -455 1457 -403
rect 1376 -461 1457 -455
rect 736 -512 2393 -489
rect 736 -517 1789 -512
rect 736 -569 1215 -517
rect 1267 -569 1587 -517
rect 1639 -564 1789 -517
rect 1841 -564 2022 -512
rect 2074 -564 2393 -512
rect 1639 -569 2393 -564
rect 736 -593 2393 -569
rect 732 -642 2127 -634
rect 732 -643 1012 -642
rect 732 -695 779 -643
rect 831 -694 1012 -643
rect 1064 -655 2127 -642
rect 1064 -694 1375 -655
rect 831 -695 1375 -694
rect 732 -707 1375 -695
rect 1427 -707 2127 -655
rect 732 -738 2127 -707
rect 732 -974 891 -738
rect 732 -1154 752 -974
rect 868 -1154 891 -974
rect 1623 -783 1679 -772
rect 1623 -835 1625 -783
rect 1677 -835 1679 -783
rect 1623 -1045 1679 -835
rect 2209 -786 2393 -593
rect 1043 -1047 1816 -1045
rect 1043 -1099 1063 -1047
rect 1115 -1099 1740 -1047
rect 1792 -1099 1816 -1047
rect 1043 -1101 1816 -1099
rect 732 -1313 891 -1154
rect 2209 -1222 2244 -786
rect 2360 -1222 2393 -786
rect 732 -1359 2122 -1313
rect 732 -1411 772 -1359
rect 824 -1411 999 -1359
rect 1051 -1362 2122 -1359
rect 1051 -1411 1355 -1362
rect 732 -1414 1355 -1411
rect 1407 -1414 2122 -1362
rect 732 -1423 2122 -1414
rect 732 -1475 772 -1423
rect 824 -1475 999 -1423
rect 1051 -1426 2122 -1423
rect 1051 -1475 1355 -1426
rect 732 -1478 1355 -1475
rect 1407 -1478 2122 -1426
rect 732 -1497 2122 -1478
rect 2209 -1558 2393 -1222
rect 733 -1598 2393 -1558
rect 733 -1650 1198 -1598
rect 1250 -1650 1584 -1598
rect 1636 -1650 1782 -1598
rect 1834 -1650 2010 -1598
rect 2062 -1650 2393 -1598
rect 733 -1662 2393 -1650
rect 733 -1714 1198 -1662
rect 1250 -1714 1584 -1662
rect 1636 -1714 1782 -1662
rect 1834 -1714 2010 -1662
rect 2062 -1714 2393 -1662
rect 733 -1742 2393 -1714
rect 529 -1899 849 -1870
rect 529 -2079 569 -1899
rect 813 -2079 849 -1899
rect 529 -2105 849 -2079
use sky130_fd_pr__pfet_g5v0d10v5_U6NWY6  sky130_fd_pr__pfet_g5v0d10v5_U6NWY6_0
transform 1 0 922 0 1 -638
box -308 -362 308 362
use sky130_fd_pr__pfet_g5v0d10v5_U62SY6  sky130_fd_pr__pfet_g5v0d10v5_U62SY6_0
transform 1 0 1585 0 -1 82
box -387 -362 387 362
use sky130_fd_pr__diode_pw2nd_05v5_FT76RJ  XD1
transform 1 0 2045 0 -1 703
box -173 -173 173 173
use sky130_fd_pr__nfet_g5v0d10v5_EJGQFX  XM1
transform -1 0 1417 0 1 -1536
box -347 -448 347 448
use sky130_fd_pr__nfet_g5v0d10v5_WSEQJ8  XM3
transform -1 0 907 0 1 -1536
box -268 -448 268 448
use sky130_fd_pr__pfet_g5v0d10v5_U62SY6  XM4
transform 1 0 1427 0 1 -638
box -387 -362 387 362
use sky130_fd_pr__nfet_g5v0d10v5_WSEQJ8  XM5
transform 1 0 1927 0 1 -1536
box -268 -448 268 448
use sky130_fd_pr__pfet_g5v0d10v5_U6NWY6  XM6
transform 1 0 1932 0 1 -638
box -308 -362 308 362
use sky130_fd_pr__pfet_g5v0d10v5_U62SY6  XM7
transform 1 0 1001 0 -1 82
box -387 -362 387 362
use sky130_fd_pr__nfet_g5v0d10v5_WSEQJ8  XM8
transform 1 0 964 0 -1 966
box -268 -448 268 448
use sky130_fd_pr__nfet_g5v0d10v5_WSEQJ8  XM10
transform 1 0 1546 0 -1 966
box -268 -448 268 448
<< labels >>
flabel metal1 s 1271 478 1271 478 0 FreeSans 61 0 0 0 holdb
flabel metal1 s 1705 473 1705 473 0 FreeSans 61 0 0 0 holdp
flabel metal1 s 340 490 540 690 0 FreeSans 49 0 0 0 hold
port 1 nsew
flabel metal1 s 336 -2091 536 -1891 0 FreeSans 49 0 0 0 vss
port 2 nsew
flabel metal1 s 2326 -776 2526 -576 0 FreeSans 49 0 0 0 out
port 3 nsew
flabel metal1 s 314 -1164 514 -964 0 FreeSans 49 0 0 0 in
port 4 nsew
flabel metal1 s 326 -352 526 -152 0 FreeSans 49 0 0 0 vdd
port 5 nsew
<< end >>

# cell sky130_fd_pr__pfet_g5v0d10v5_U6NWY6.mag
magic
tech sky130A
magscale 1 2
<< nwell >>
rect -308 -362 308 362
<< mvpmos >>
rect -50 -64 50 136
<< mvpdiff >>
rect -108 121 -50 136
rect -108 87 -96 121
rect -62 87 -50 121
rect -108 53 -50 87
rect -108 19 -96 53
rect -62 19 -50 53
rect -108 -15 -50 19
rect -108 -49 -96 -15
rect -62 -49 -50 -15
rect -108 -64 -50 -49
rect 50 121 108 136
rect 50 87 62 121
rect 96 87 108 121
rect 50 53 108 87
rect 50 19 62 53
rect 96 19 108 53
rect 50 -15 108 19
rect 50 -49 62 -15
rect 96 -49 108 -15
rect 50 -64 108 -49
<< mvpdiffc >>
rect -96 87 -62 121
rect -96 19 -62 53
rect -96 -49 -62 -15
rect 62 87 96 121
rect 62 19 96 53
rect 62 -49 96 -15
<< mvnsubdiff >>
rect -242 284 242 296
rect -242 250 -119 284
rect -85 250 -51 284
rect -17 250 17 284
rect 51 250 85 284
rect 119 250 242 284
rect -242 238 242 250
rect -242 187 -184 238
rect -242 153 -230 187
rect -196 153 -184 187
rect 184 187 242 238
rect -242 119 -184 153
rect 184 153 196 187
rect 230 153 242 187
rect -242 85 -230 119
rect -196 85 -184 119
rect -242 51 -184 85
rect -242 17 -230 51
rect -196 17 -184 51
rect -242 -17 -184 17
rect -242 -51 -230 -17
rect -196 -51 -184 -17
rect -242 -85 -184 -51
rect 184 119 242 153
rect 184 85 196 119
rect 230 85 242 119
rect 184 51 242 85
rect 184 17 196 51
rect 230 17 242 51
rect 184 -17 242 17
rect 184 -51 196 -17
rect 230 -51 242 -17
rect -242 -119 -230 -85
rect -196 -119 -184 -85
rect -242 -153 -184 -119
rect -242 -187 -230 -153
rect -196 -187 -184 -153
rect 184 -85 242 -51
rect 184 -119 196 -85
rect 230 -119 242 -85
rect 184 -153 242 -119
rect -242 -238 -184 -187
rect 184 -187 196 -153
rect 230 -187 242 -153
rect 184 -238 242 -187
rect -242 -250 242 -238
rect -242 -284 -119 -250
rect -85 -284 -51 -250
rect -17 -284 17 -250
rect 51 -284 85 -250
rect 119 -284 242 -250
rect -242 -296 242 -284
<< mvnsubdiffcont >>
rect -119 250 -85 284
rect -51 250 -17 284
rect 17 250 51 284
rect 85 250 119 284
rect -230 153 -196 187
rect 196 153 230 187
rect -230 85 -196 119
rect -230 17 -196 51
rect -230 -51 -196 -17
rect 196 85 230 119
rect 196 17 230 51
rect 196 -51 230 -17
rect -230 -119 -196 -85
rect -230 -187 -196 -153
rect 196 -119 230 -85
rect 196 -187 230 -153
rect -119 -284 -85 -250
rect -51 -284 -17 -250
rect 17 -284 51 -250
rect 85 -284 119 -250
<< poly >>
rect -50 136 50 162
rect -50 -111 50 -64
rect -50 -145 -17 -111
rect 17 -145 50 -111
rect -50 -161 50 -145
<< polycont >>
rect -17 -145 17 -111
<< locali >>
rect -230 250 -119 284
rect -85 250 -51 284
rect -17 250 17 284
rect 51 250 85 284
rect 119 250 230 284
rect -230 187 -196 250
rect -230 119 -196 153
rect 196 187 230 250
rect -230 51 -196 85
rect -230 -17 -196 17
rect -230 -85 -196 -51
rect -96 121 -62 140
rect -96 53 -62 55
rect -96 17 -62 19
rect -96 -68 -62 -49
rect 62 121 96 140
rect 62 53 96 55
rect 62 17 96 19
rect 62 -68 96 -49
rect 196 119 230 153
rect 196 51 230 85
rect 196 -17 230 17
rect 196 -85 230 -51
rect -230 -153 -196 -119
rect -50 -145 -17 -111
rect 17 -145 50 -111
rect -230 -250 -196 -187
rect 196 -153 230 -119
rect 196 -250 230 -187
rect -230 -284 -119 -250
rect -85 -284 -51 -250
rect -17 -284 17 -250
rect 51 -284 85 -250
rect 119 -284 230 -250
<< viali >>
rect -96 87 -62 89
rect -96 55 -62 87
rect -96 -15 -62 17
rect -96 -17 -62 -15
rect 62 87 96 89
rect 62 55 96 87
rect 62 -15 96 17
rect 62 -17 96 -15
rect -17 -145 17 -111
<< metal1 >>
rect -102 89 -56 136
rect -102 55 -96 89
rect -62 55 -56 89
rect -102 17 -56 55
rect -102 -17 -96 17
rect -62 -17 -56 17
rect -102 -64 -56 -17
rect 56 89 102 136
rect 56 55 62 89
rect 96 55 102 89
rect 56 17 102 55
rect 56 -17 62 17
rect 96 -17 102 17
rect 56 -64 102 -17
rect -46 -111 46 -105
rect -46 -145 -17 -111
rect 17 -145 46 -111
rect -46 -151 46 -145
<< properties >>
string FIXED_BBOX -213 -267 213 267
<< end >>

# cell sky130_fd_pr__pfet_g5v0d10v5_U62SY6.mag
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
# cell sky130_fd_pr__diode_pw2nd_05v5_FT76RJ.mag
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
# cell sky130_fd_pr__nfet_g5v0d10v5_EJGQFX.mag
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
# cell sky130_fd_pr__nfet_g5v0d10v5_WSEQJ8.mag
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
